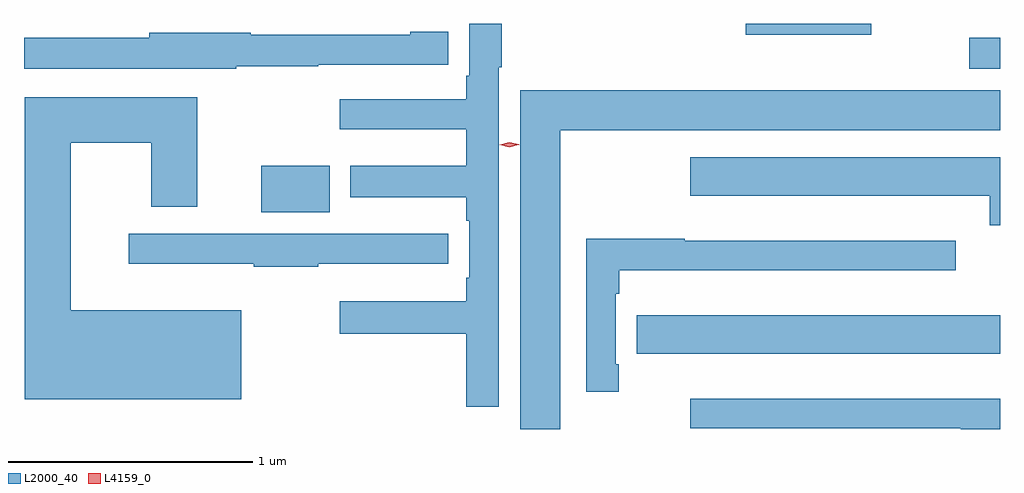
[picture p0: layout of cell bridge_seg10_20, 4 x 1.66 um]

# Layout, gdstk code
import gdstk
lib = gdstk.Library(unit=1e-6, precision=1e-09)
def R(c, l, rs):  # rectangles x0, y0, x1, y1
    for r in rs: c.add(gdstk.rectangle(r[:2], r[2:], *l))
def P(c, l, *ps):  # polygons
    for p in ps: c.add(gdstk.Polygon(p, *l))
L2000_40 = (2000, 40)
L4159_0 = (4159, 0)

bridge_seg10_20 = lib.new_cell('bridge_seg10_20')
R(bridge_seg10_20, L2000_40, [(1031.465,1329.647,1032.954,1329.805), (1029.926,1330.226,1030.207,1330.417), (1032.828,1330.814,1032.954,1330.942), (1031.911,1330.955,1032.427,1331)])
P(bridge_seg10_20, L2000_40, [(1030.9,1330.822),(1030.913,1330.822),(1030.913,1331),(1030.778,1331),(1030.778,1330.786),(1030.766,1330.786),(1030.766,1330.69),(1030.248,1330.69),(1030.248,1330.568),(1030.766,1330.568),(1030.766,1330.417),(1030.292,1330.417),(1030.292,1330.289),(1030.766,1330.289),(1030.766,1330.193),(1030.778,1330.193),(1030.778,1329.958),(1030.766,1329.958),(1030.766,1329.862),(1030.248,1329.862),(1030.248,1329.728),(1030.766,1329.728),(1030.766,1329.429),(1030.9,1329.429)],
  [(1029.823,1330.825),(1030.16,1330.825),(1030.16,1330.832),(1030.693,1330.832),(1030.693,1330.966),(1030.536,1330.966),(1030.536,1330.954),(1029.884,1330.954),(1029.884,1330.962),(1029.468,1330.962),(1029.468,1330.942),(1028.954,1330.942),(1028.954,1330.814),(1029.823,1330.814)],
  [(1031.152,1330.562),(1032.954,1330.562),(1032.954,1330.726),(1030.988,1330.726),(1030.988,1329.337),(1031.152,1329.337)],
  [(1029.844,1329.826),(1029.145,1329.826),(1029.145,1330.511),(1029.476,1330.511),(1029.476,1330.25),(1029.664,1330.25),(1029.664,1330.699),(1028.957,1330.699),(1028.957,1329.461),(1029.844,1329.461)],
  [(1032.954,1330.453),(1031.685,1330.453),(1031.685,1330.295),(1032.911,1330.295),(1032.911,1330.173),(1032.954,1330.173)],
  [(1030.16,1330.016),(1030.693,1330.016),(1030.693,1330.138),(1029.384,1330.138),(1029.384,1330.016),(1029.896,1330.016),(1029.896,1330.004),(1030.16,1330.004)],
  [(1031.392,1329.604),(1031.38,1329.604),(1031.38,1329.893),(1031.393,1329.893),(1031.393,1329.989),(1032.772,1329.989),(1032.772,1330.111),(1031.662,1330.111),(1031.662,1330.119),(1031.258,1330.119),(1031.258,1329.492),(1031.392,1329.492)],
  [(1032.954,1329.463),(1031.685,1329.463),(1031.685,1329.341),(1032.794,1329.341),(1032.794,1329.337),(1032.954,1329.337)])
P(bridge_seg10_20, L4159_0, [(1030.943,1330.494),(1030.903,1330.504),(1030.902,1330.504),(1030.903,1330.504),(1030.942,1330.514),(1030.982,1330.505),(1030.983,1330.504),(1030.982,1330.504)])

lib.write_gds('bridge_seg10_20.gds')
